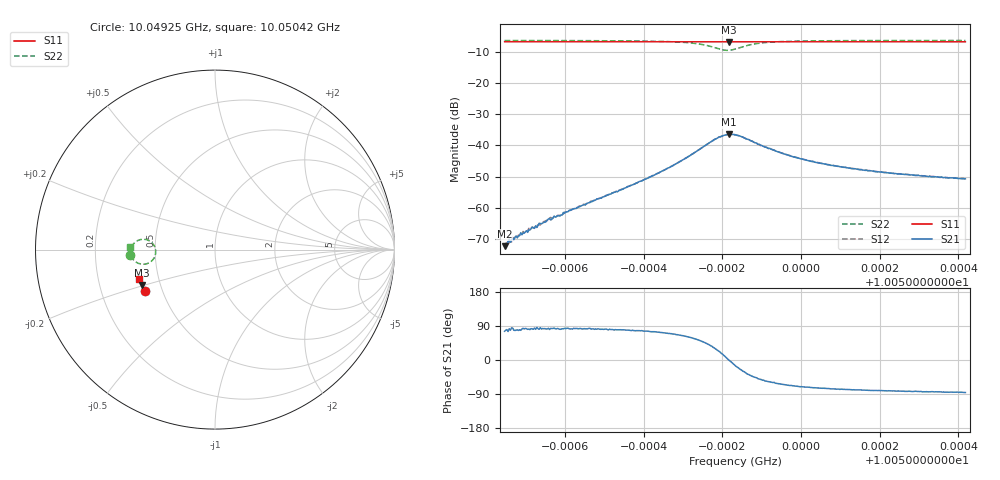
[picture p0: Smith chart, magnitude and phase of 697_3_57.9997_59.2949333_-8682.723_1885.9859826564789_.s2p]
#  HZ  S  RI  R  50.00
! Rohde & Schwarz Vector Network Analyzer
! Rohde-Schwarz,ZNB20-2Port,1311601062101988,3.16
! Created: UTC 3/21/2024, 1:21:37 AM
! freq[Hz]  re:S11  im:S11  re:S21  im:S21  re:S12  im:S12  re:S22  im:S22
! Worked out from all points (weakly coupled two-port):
!   401 points, 10.04925 GHz to 10.05042 GHz, reference 50 ohm
!   highest |S21| = -36.45 dB at 10.04982 GHz (marker M1); lowest = -72.2 dB at 10.04925 GHz (marker M2)
!   lowest |S11| = -6.9 dB at 10.04982 GHz (marker M3), VSWR 2.65, Z = 19.8 - j9.91 ohm
!   |S11| at or under -10 dB: nowhere
!   |S22| runs from -9.6 to -6.5 dB; largest |S21 - S12| = 0.0011
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1.0049246e10  -0.3899 -0.2334  5.97e-05 0.000238  4.23e-05 0.000256  -0.4737 -0.0311
1.0049261e10  -0.3904 -0.2326  5.66e-05 0.000278  4.4e-05 0.000297  -0.4735 -0.0298
1.0049314e10  -0.392 -0.2294  5.87e-05 0.000464  2.2e-05 0.000479  -0.4735 -0.0248
1.0049325e10  -0.3923 -0.2288  8.14e-05 0.000513  6.6e-05 0.000525  -0.4735 -0.0234
1.004934e10  -0.3928 -0.2281  8.05e-05 0.000554  7.85e-05 0.000577  -0.4732 -0.0219
1.0049366e10  -0.3936 -0.2264  7.96e-05 0.000655  5.2e-05 0.000683  -0.4731 -0.0193
1.004939e10  -0.3944 -0.225  0.000116 0.000764  6.97e-05 0.000805  -0.4727 -0.0167
1.0049443e10  -0.396 -0.2218  0.000152 0.00108  0.000103 0.0011  -0.4721 -0.0104
1.0049539e10  -0.3989 -0.2162  0.00034 0.00189  0.000251 0.00192  -0.4692 0.00362
1.0049639e10  -0.4017 -0.2101  0.00103 0.00348  0.000872 0.00357  -0.4594 0.0247
1.0049703e10  -0.4035 -0.2061  0.00272 0.00542  0.00245 0.00556  -0.4403 0.0447
1.0049765e10  -0.4047 -0.2021  0.00811 0.00709  0.00773 0.00751  -0.3852 0.0562
1.0049797e10  -0.405 -0.2005  0.0133 0.00423  0.0129 0.00501  -0.3399 0.0236
1.0049817e10  -0.4053 -0.1996  0.015 -0.000303  0.0149 0.000716  -0.3306 -0.0204
1.0049832e10  -0.4058 -0.1992  0.0144 -0.00361  0.0144 -0.00269  -0.3416 -0.0505
1.0049861e10  -0.4068 -0.198  0.0103 -0.00738  0.011 -0.00661  -0.3845 -0.08
1.0049902e10  -0.4084 -0.1955  0.00583 -0.00784  0.0063 -0.00748  -0.4293 -0.0754
1.0049976e10  -0.4107 -0.1911  0.00259 -0.00618  0.00293 -0.00611  -0.4591 -0.0505
1.0050028e10  -0.4121 -0.1878  0.00164 -0.00531  0.00196 -0.00518  -0.4666 -0.0368
1.0050104e10  -0.4141 -0.1833  0.00101 -0.00439  0.00127 -0.00435  -0.4713 -0.0223
1.0050224e10  -0.4171 -0.1758  0.000545 -0.00357  0.000781 -0.00355  -0.474 -0.00584
1.0050418e10  -0.4216 -0.164  0.000207 -0.00292  0.000399 -0.00292  -0.4749 0.0138
